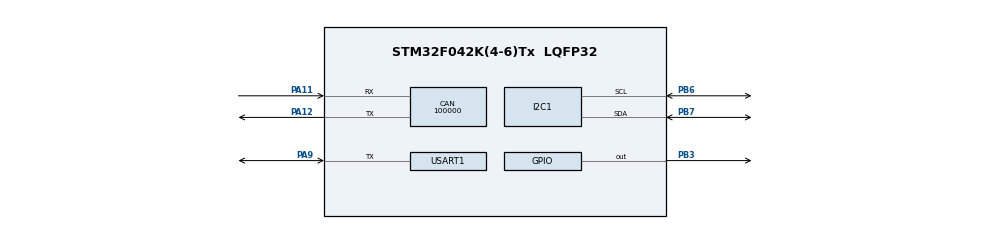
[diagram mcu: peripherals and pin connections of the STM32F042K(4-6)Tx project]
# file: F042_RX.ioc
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ADC.SamplingTime=ADC_SAMPLETIME_239CYCLES_5
CAN.BS1=CAN_BS1_2TQ
CAN.BS2=CAN_BS2_2TQ
CAN.CalculateBaudRate=100000
CAN.CalculateTimeBit=10000
CAN.CalculateTimeQuantum=2000.0
Mcu.Family=STM32F0
Mcu.Name=STM32F042K(4-6)Tx
Mcu.Package=LQFP32
NVIC.CEC_CAN_IRQn=true\:1\:0\:true\:false\:true\:true\:true\:true
NVIC.TIM16_IRQn=true\:3\:0\:true\:false\:true\:true\:true\:true
NVIC.USART1_IRQn=true\:0\:0\:true\:false\:true\:true\:true\:true
PA11.Mode=CAN_Activate
PA11.Signal=CAN_RX
PA12.Mode=CAN_Activate
PA12.Signal=CAN_TX
PA9.Mode=Half_duplex(single_wire_mode)
PA9.Signal=USART1_TX
PB3.Signal=GPIO_Output
PB6.Mode=I2C
PB6.Signal=I2C1_SCL
PB7.Mode=I2C
PB7.Signal=I2C1_SDA
ProjectManager.HeapSize=0x200
ProjectManager.StackSize=0x400
ProjectManager.TargetToolchain=MDK-ARM V5.32
TIM16.Period=999
TIM16.Prescaler=8
USART1.BaudRate=9600
USART1.VirtualMode-Half_duplex(single_wire_mode)=VM_ASYNC
VP_ADC_TempSens_Input.Mode=IN-TempSens
VP_CRC_VS_CRC.Mode=CRC_Activate
VP_TIM16_VS_ClockSourceINT.Mode=Enable_Timer
board=custom

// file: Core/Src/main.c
/* USER CODE BEGIN Header */
/**
  ******************************************************************************
  * @file           : main.c
  * @brief          : Main program body
  ******************************************************************************
  * @attention
  *
  * Copyright (c) 2023 STMicroelectronics.
  * All rights reserved.
  *
  * This software is licensed under terms that can be found in the LICENSE file
  * in the root directory of this software component.
  * If no LICENSE file comes with this software, it is provided AS-IS.
  *
  ******************************************************************************
  */
/* USER CODE END Header */
#include "main.h"

/* USER CODE BEGIN Includes */
#include "usr_system.h"
#include "usr_lin.h"
#include "usr_can.h"
#include "usr_screen.h"
/* USER CODE END Includes */

ADC_HandleTypeDef hadc;

CAN_HandleTypeDef hcan;

CRC_HandleTypeDef hcrc;

I2C_HandleTypeDef hi2c1;

TIM_HandleTypeDef htim16;

UART_HandleTypeDef huart1;

void SystemClock_Config(void);
static void MX_GPIO_Init(void);
static void MX_CAN_Init(void);
static void MX_CRC_Init(void);
static void MX_USART1_UART_Init(void);
static void MX_TIM16_Init(void);
static void MX_ADC_Init(void);
static void MX_I2C1_Init(void);

/* USER CODE BEGIN 0 */

void HAL_CAN_RxFifo0MsgPendingCallback(CAN_HandleTypeDef *hcan)
{
  if (HAL_CAN_GetRxMessage(hcan, CAN_RX_FIFO0, &RxHeader, RxData) != HAL_OK)
  {
		g_CANstat = false;
    Error_Handler();
  }

  if ((RxHeader.StdId == 0x103))
  {
		g_CANstat = true;
	  datacheck = 1;
  }
}

/* USER CODE END 0 */

int main(void)
{

  /* MCU Configuration--------------------------------------------------------*/

  /* Reset of all peripherals, Initializes the Flash interface and the Systick. */
  HAL_Init();

  /* Configure the system clock */
  SystemClock_Config();

  /* Initialize all configured peripherals */
  MX_GPIO_Init();
  MX_CAN_Init();
  MX_CRC_Init();
  MX_USART1_UART_Init();
  MX_TIM16_Init();
  MX_ADC_Init();
  MX_I2C1_Init();
  /* USER CODE BEGIN 2 */

  UsrSystemInit();

  /* USER CODE END 2 */

  /* Infinite loop */
  while (1)
  {

    /* USER CODE BEGIN 3 */

    UsrSystemGeneral();

  }
  /* USER CODE END 3 */
}

void SystemClock_Config(void)
{
  RCC_OscInitTypeDef RCC_OscInitStruct = {0};
  RCC_ClkInitTypeDef RCC_ClkInitStruct = {0};
  RCC_PeriphCLKInitTypeDef PeriphClkInit = {0};

  /** Initializes the RCC Oscillators according to the specified parameters
  * in the RCC_OscInitTypeDef structure.
  */
  RCC_OscInitStruct.OscillatorType = RCC_OSCILLATORTYPE_HSI|RCC_OSCILLATORTYPE_HSI14;
  RCC_OscInitStruct.HSIState = RCC_HSI_ON;
  RCC_OscInitStruct.HSI14State = RCC_HSI14_ON;
  RCC_OscInitStruct.HSICalibrationValue = RCC_HSICALIBRATION_DEFAULT;
  RCC_OscInitStruct.HSI14CalibrationValue = 16;
  RCC_OscInitStruct.PLL.PLLState = RCC_PLL_NONE;
  if (HAL_RCC_OscConfig(&RCC_OscInitStruct) != HAL_OK)
  {
    Error_Handler();
  }

  /** Initializes the CPU, AHB and APB buses clocks
  */
  RCC_ClkInitStruct.ClockType = RCC_CLOCKTYPE_HCLK|RCC_CLOCKTYPE_SYSCLK
                              |RCC_CLOCKTYPE_PCLK1;
  RCC_ClkInitStruct.SYSCLKSource = RCC_SYSCLKSOURCE_HSI;
  RCC_ClkInitStruct.AHBCLKDivider = RCC_SYSCLK_DIV1;
  RCC_ClkInitStruct.APB1CLKDivider = RCC_HCLK_DIV1;

  if (HAL_RCC_ClockConfig(&RCC_ClkInitStruct, FLASH_LATENCY_0) != HAL_OK)
  {
    Error_Handler();
  }
  PeriphClkInit.PeriphClockSelection = RCC_PERIPHCLK_USART1|RCC_PERIPHCLK_I2C1;
  PeriphClkInit.Usart1ClockSelection = RCC_USART1CLKSOURCE_PCLK1;
  PeriphClkInit.I2c1ClockSelection = RCC_I2C1CLKSOURCE_HSI;
  if (HAL_RCCEx_PeriphCLKConfig(&PeriphClkInit) != HAL_OK)
  {
    Error_Handler();
  }
}

static void MX_ADC_Init(void)
{

  ADC_ChannelConfTypeDef sConfig = {0};

  /** Configure the global features of the ADC (Clock, Resolution, Data Alignment and number of conversion)
  */
  hadc.Instance = ADC1;
  hadc.Init.ClockPrescaler = ADC_CLOCK_ASYNC_DIV1;
  hadc.Init.Resolution = ADC_RESOLUTION_12B;
  hadc.Init.DataAlign = ADC_DATAALIGN_RIGHT;
  hadc.Init.ScanConvMode = ADC_SCAN_DIRECTION_FORWARD;
  hadc.Init.EOCSelection = ADC_EOC_SINGLE_CONV;
  hadc.Init.LowPowerAutoWait = DISABLE;
  hadc.Init.LowPowerAutoPowerOff = DISABLE;
  hadc.Init.ContinuousConvMode = DISABLE;
  hadc.Init.DiscontinuousConvMode = DISABLE;
  hadc.Init.ExternalTrigConv = ADC_SOFTWARE_START;
  hadc.Init.ExternalTrigConvEdge = ADC_EXTERNALTRIGCONVEDGE_NONE;
  hadc.Init.DMAContinuousRequests = DISABLE;
  hadc.Init.Overrun = ADC_OVR_DATA_PRESERVED;
  if (HAL_ADC_Init(&hadc) != HAL_OK)
  {
    Error_Handler();
  }

  /** Configure for the selected ADC regular channel to be converted.
  */
  sConfig.Channel = ADC_CHANNEL_TEMPSENSOR;
  sConfig.Rank = ADC_RANK_CHANNEL_NUMBER;
  sConfig.SamplingTime = ADC_SAMPLETIME_239CYCLES_5;
  if (HAL_ADC_ConfigChannel(&hadc, &sConfig) != HAL_OK)
  {
    Error_Handler();
  }

}

static void MX_CAN_Init(void)
{

  hcan.Instance = CAN;
  hcan.Init.Prescaler = 16;
  hcan.Init.Mode = CAN_MODE_NORMAL;
  hcan.Init.SyncJumpWidth = CAN_SJW_1TQ;
  hcan.Init.TimeSeg1 = CAN_BS1_2TQ;
  hcan.Init.TimeSeg2 = CAN_BS2_2TQ;
  hcan.Init.TimeTriggeredMode = DISABLE;
  hcan.Init.AutoBusOff = DISABLE;
  hcan.Init.AutoWakeUp = DISABLE;
  hcan.Init.AutoRetransmission = DISABLE;
  hcan.Init.ReceiveFifoLocked = DISABLE;
  hcan.Init.TransmitFifoPriority = DISABLE;
  if (HAL_CAN_Init(&hcan) != HAL_OK)
  {
    Error_Handler();
  }
  /* USER CODE BEGIN CAN_Init 2 */

	CAN_FilterTypeDef  sFilterConfig;

  sFilterConfig.FilterBank = 0;
  sFilterConfig.FilterMode = CAN_FILTERMODE_IDMASK;
  sFilterConfig.FilterScale = CAN_FILTERSCALE_32BIT;
  sFilterConfig.FilterIdHigh = 0x0000;
  sFilterConfig.FilterIdLow = 0x0000;
  sFilterConfig.FilterMaskIdHigh = 0x0000;
  sFilterConfig.FilterMaskIdLow = 0x0000;
  sFilterConfig.FilterFIFOAssignment = CAN_RX_FIFO0;
  sFilterConfig.FilterActivation = ENABLE;
  sFilterConfig.SlaveStartFilterBank = 14;

  if (HAL_CAN_ConfigFilter(&hcan, &sFilterConfig) != HAL_OK)
  {
    /* Filter configuration Error */
    Error_Handler();
  }
  /* USER CODE END CAN_Init 2 */

}

static void MX_CRC_Init(void)
{

  hcrc.Instance = CRC;
  hcrc.Init.DefaultInitValueUse = DEFAULT_INIT_VALUE_ENABLE;
  hcrc.Init.InputDataInversionMode = CRC_INPUTDATA_INVERSION_NONE;
  hcrc.Init.OutputDataInversionMode = CRC_OUTPUTDATA_INVERSION_DISABLE;
  hcrc.InputDataFormat = CRC_INPUTDATA_FORMAT_BYTES;
  if (HAL_CRC_Init(&hcrc) != HAL_OK)
  {
    Error_Handler();
  }

}

static void MX_I2C1_Init(void)
{

  hi2c1.Instance = I2C1;
  hi2c1.Init.Timing = 0x2000090E;
  hi2c1.Init.OwnAddress1 = 0;
  hi2c1.Init.AddressingMode = I2C_ADDRESSINGMODE_7BIT;
  hi2c1.Init.DualAddressMode = I2C_DUALADDRESS_DISABLE;
  hi2c1.Init.OwnAddress2 = 0;
  hi2c1.Init.OwnAddress2Masks = I2C_OA2_NOMASK;
  hi2c1.Init.GeneralCallMode = I2C_GENERALCALL_DISABLE;
  hi2c1.Init.NoStretchMode = I2C_NOSTRETCH_DISABLE;
  if (HAL_I2C_Init(&hi2c1) != HAL_OK)
  {
    Error_Handler();
  }

  /** Configure Analogue filter
  */
  if (HAL_I2CEx_ConfigAnalogFilter(&hi2c1, I2C_ANALOGFILTER_ENABLE) != HAL_OK)
  {
    Error_Handler();
  }

  /** Configure Digital filter
  */
  if (HAL_I2CEx_ConfigDigitalFilter(&hi2c1, 0) != HAL_OK)
  {
    Error_Handler();
  }

}

static void MX_TIM16_Init(void)
{

  htim16.Instance = TIM16;
  htim16.Init.Prescaler = 8;
  htim16.Init.CounterMode = TIM_COUNTERMODE_UP;
  htim16.Init.Period = 999;
  htim16.Init.ClockDivision = TIM_CLOCKDIVISION_DIV1;
  htim16.Init.RepetitionCounter = 0;
  htim16.Init.AutoReloadPreload = TIM_AUTORELOAD_PRELOAD_DISABLE;
  if (HAL_TIM_Base_Init(&htim16) != HAL_OK)
  {
    Error_Handler();
  }

}

static void MX_USART1_UART_Init(void)
{

  huart1.Instance = USART1;
  huart1.Init.BaudRate = 9600;
  huart1.Init.WordLength = UART_WORDLENGTH_8B;
  huart1.Init.StopBits = UART_STOPBITS_1;
  huart1.Init.Parity = UART_PARITY_NONE;
  huart1.Init.Mode = UART_MODE_TX_RX;
  huart1.Init.HwFlowCtl = UART_HWCONTROL_NONE;
  huart1.Init.OverSampling = UART_OVERSAMPLING_16;
  huart1.Init.OneBitSampling = UART_ONE_BIT_SAMPLE_DISABLE;
  huart1.AdvancedInit.AdvFeatureInit = UART_ADVFEATURE_NO_INIT;
  if (HAL_HalfDuplex_Init(&huart1) != HAL_OK)
  {
    Error_Handler();
  }

}

static void MX_GPIO_Init(void)
{
  GPIO_InitTypeDef GPIO_InitStruct = {0};

  /* GPIO Ports Clock Enable */
  __HAL_RCC_GPIOA_CLK_ENABLE();
  __HAL_RCC_GPIOB_CLK_ENABLE();

  /*Configure GPIO pin Output Level */
  HAL_GPIO_WritePin(GPIOB, GPIO_PIN_3, GPIO_PIN_RESET);

  /*Configure GPIO pin : PB3 */
  GPIO_InitStruct.Pin = GPIO_PIN_3;
  GPIO_InitStruct.Mode = GPIO_MODE_OUTPUT_PP;
  GPIO_InitStruct.Pull = GPIO_NOPULL;
  GPIO_InitStruct.Speed = GPIO_SPEED_FREQ_LOW;
  HAL_GPIO_Init(GPIOB, &GPIO_InitStruct);

}

void Error_Handler(void)
{
  __disable_irq();
  while (1)
  {
  }
}
